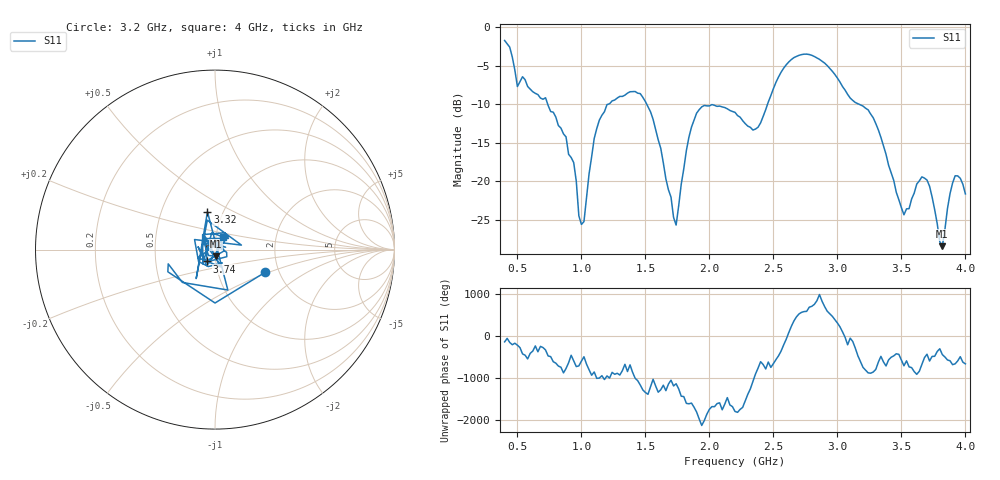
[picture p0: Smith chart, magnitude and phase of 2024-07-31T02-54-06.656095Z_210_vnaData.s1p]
!Created with skrf (http://scikit-rf.org).
# Hz S RI R 50.0
!freq ReS11 ImS11
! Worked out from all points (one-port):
!   181 points, 400 MHz to 4 GHz, reference 50 ohm
!   lowest |S11| = -28.4 dB at 3.82 GHz (marker M1), VSWR 1.08, Z = 50.4 - j3.79 ohm
!   |S11| at or under -10 dB: 736.5 MHz to 1.212 GHz (475.1 MHz wide, 48.8 % of centre); 1.51 GHz to 2.455 GHz (944.6 MHz wide, 47.6 % of centre); 3.167 GHz to end of sweep
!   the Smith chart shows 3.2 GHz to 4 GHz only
!   S11 on the Smith chart (normalised r, x): 3.2 GHz: 1.70, -0.47; 3.32 GHz: 0.84, +0.37; 3.74 GHz: 0.91, -0.12; 4 GHz: 1.08, +0.15
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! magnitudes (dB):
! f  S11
! 400 MHz  -1.7
! 500 MHz  -7.7
! 720 MHz  -9.2
! 860 MHz  -13.9
! 940 MHz  -17.6
! 1 GHz  -25.6
! 1.12 GHz  -13.2
! 1.3 GHz  -9.0
! 1.5 GHz  -9.7
! 1.62 GHz  -15.7
! 1.72 GHz  -24.7
! 1.76 GHz  -23.2
! 1.84 GHz  -14.3
! 1.9 GHz  -11.2
! 2.2 GHz  -11.1
! 2.38 GHz  -13.0
! 2.66 GHz  -4.0
! 2.88 GHz  -4.4
! 3.1 GHz  -9.2
! 3.2 GHz  -10.3
! 3.32 GHz  -13.3
! 3.52 GHz  -24.4
! 3.56 GHz  -23.6
! 3.66 GHz  -19.4
! 3.74 GHz  -22.1
! 3.82 GHz  -28.4
! 3.92 GHz  -19.3
! 4 GHz  -21.6
